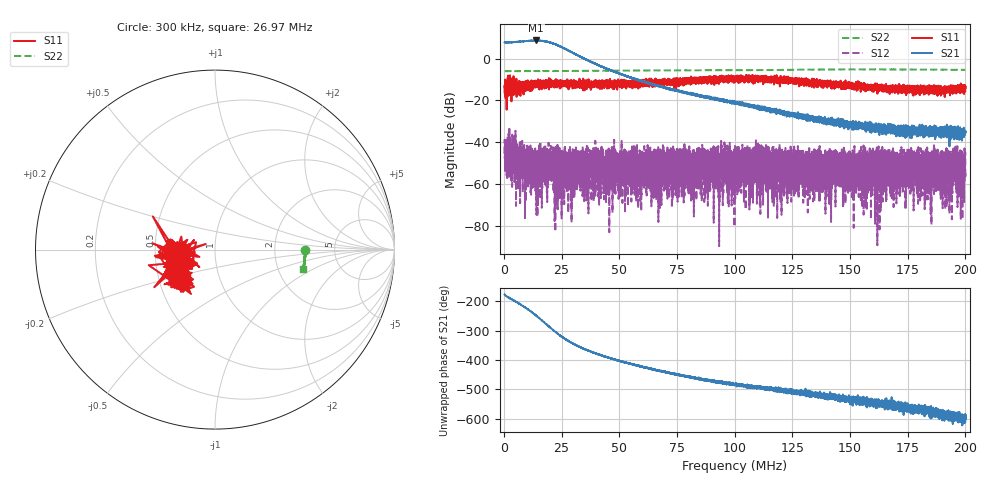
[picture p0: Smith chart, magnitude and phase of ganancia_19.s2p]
# Hz S DB R 50
! CMT, M5065, 19127446, 24.2.4/2
! Date: 11/8/2024 2:54:45 PM
! Data: Format (Calibration Info)
! Freq	S11:dB/Ang(F2)	S21:dB/Ang(F2)	S12:dB/Ang(F2)	S22:dB/Ang(F2)
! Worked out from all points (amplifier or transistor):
!   9000 points, 300 kHz to 200 MHz, reference 50 ohm
!   highest |S21| = 8.6 dB at 14.01 MHz (marker M1)
!   |S21| within 3 dB of that: start of sweep to 24.61 MHz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
!   unconditionally stable (mu >= 1): start of sweep to end of sweep
!   at 33.59 MHz: K = 61.03, MAG = 2.2 dB, |S12| = -45.5 dB
!   at 100.2 MHz: K = 423.39, MAG = -19.2 dB, |S12| = -41.3 dB
!   at 200 MHz: K = 10842.91, MAG = -33.5 dB, |S12| = -54.9 dB
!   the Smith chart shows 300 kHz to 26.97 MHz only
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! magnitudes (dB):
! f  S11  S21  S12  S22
! 300 kHz  -13.5  7.7  -45.5  -6.0
! 14.01 MHz  -11.4  8.6  -51.1  -6.0
! 25.29 MHz  -11.5  5.3  -53.7  -5.9
! 27.84 MHz  -10.9  3.9  -49.6  -5.9
! 30.01 MHz  -12.0  2.6  -43.5  -5.9
! 33.59 MHz  -12.0  0.7  -45.5  -5.9
! 66.87 MHz  -12.5  -13.0  -41.6  -5.7
! 69.45 MHz  -11.9  -13.8  -50.1  -5.7
! 81.54 MHz  -11.2  -17.1  -50.5  -5.6
! 90.66 MHz  -8.7  -18.9  -45.3  -5.6
! 93.93 MHz  -8.5  -19.4  -55.4  -5.6
! 95.12 MHz  -10.1  -19.9  -43.7  -5.6
! 100.2 MHz  -9.6  -21.1  -41.3  -5.6
! 105.1 MHz  -10.7  -22.6  -43.9  -5.5
! 107.1 MHz  -10.0  -22.9  -49.2  -5.5
! 108.6 MHz  -11.0  -23.2  -49.4  -5.5
! 116.8 MHz  -10.5  -24.3  -54.3  -5.5
! 133.4 MHz  -10.6  -28.1  -51.7  -5.3
! 166.7 MHz  -14.8  -33.6  -54.3  -5.2
! 188 MHz  -14.3  -33.1  -56.4  -5.3
! 195.6 MHz  -15.1  -34.9  -54.5  -5.3
! 200 MHz  -13.6  -35.2  -54.9  -5.4
